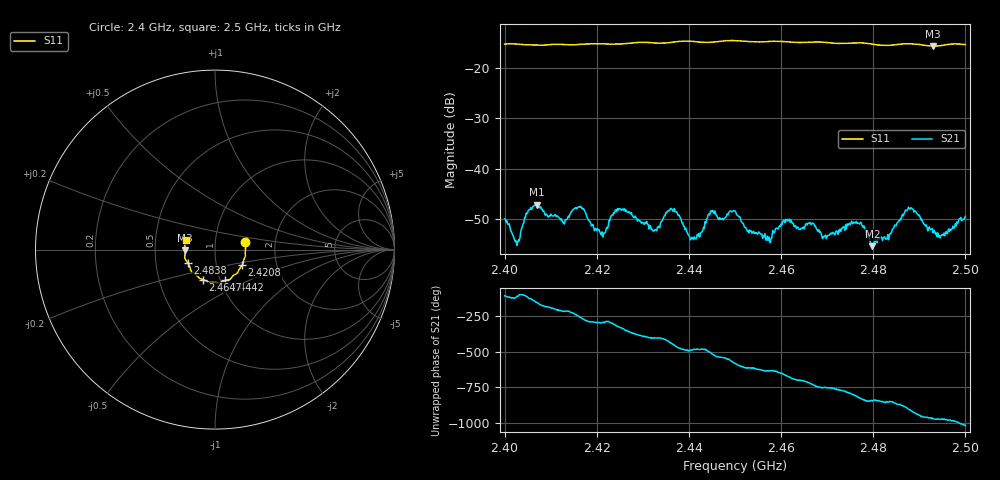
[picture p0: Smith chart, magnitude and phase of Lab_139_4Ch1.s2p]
# Hz S RI R 50
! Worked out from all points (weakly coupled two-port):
!   601 points, 2.4 GHz to 2.5 GHz, reference 50 ohm
!   highest |S21| = -47.10 dB at 2.407 GHz (marker M1); lowest = -55.4 dB at 2.4798 GHz (marker M2)
!   lowest |S11| = -15.6 dB at 2.493 GHz (marker M3), VSWR 1.40, Z = 35.8 - j0.223 ohm
!   |S11| at or under -10 dB: start of sweep to end of sweep
!   S12 and S22 are empty: the file has one direction only
!   S11 on the Smith chart (normalised r, x): 2.4 GHz: 1.40, +0.12; 2.4208 GHz: 1.33, -0.24; 2.4442 GHz: 1.05, -0.37; 2.4647 GHz: 0.83, -0.29; 2.4838 GHz: 0.73, -0.11; 2.5 GHz: 0.72, +0.08
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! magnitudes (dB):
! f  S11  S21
! 2.4 GHz  -15.2  -49.9
! 2.4028 GHz  -15.2  -54.6
! 2.407 GHz  -15.4  -47.1
! 2.413 GHz  -15.3  -51.0
! 2.4167 GHz  -15.3  -47.8
! 2.4208 GHz  -15.2  -52.9
! 2.425 GHz  -15.2  -47.9
! 2.4333 GHz  -15.0  -51.7
! 2.4365 GHz  -14.8  -48.4
! 2.441 GHz  -14.7  -54.0
! 2.4442 GHz  -14.9  -49.1
! 2.45 GHz  -14.5  -48.3
! 2.4572 GHz  -14.7  -54.2
! 2.4647 GHz  -14.9  -51.8
! 2.4667 GHz  -14.8  -50.9
! 2.4768 GHz  -15.0  -50.8
! 2.4798 GHz  -15.2  -55.4
! 2.4833 GHz  -15.5  -54.1
! 2.4838 GHz  -15.4  -52.9
! 2.488 GHz  -15.2  -48.0
! 2.493 GHz  -15.6  -52.7
! 2.5 GHz  -15.3  -49.4
